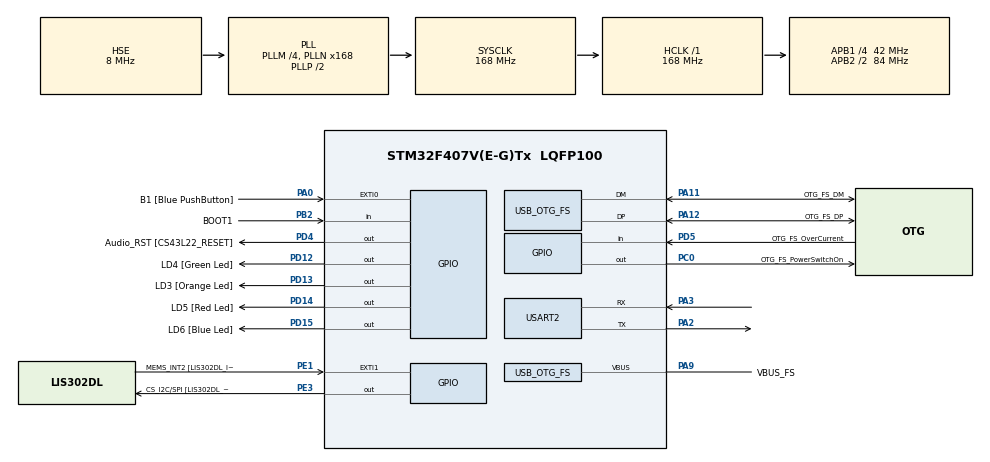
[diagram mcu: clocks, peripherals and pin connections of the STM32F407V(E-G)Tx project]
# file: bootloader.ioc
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Mcu.Family=STM32F4
Mcu.Name=STM32F407V(E-G)Tx
Mcu.Package=LQFP100
NVIC.OTG_FS_IRQn=true\:0\:0\:false\:false\:true\:false\:true\:true
NVIC.PriorityGroup=NVIC_PRIORITYGROUP_0
PA0-WKUP.GPIO_Label=B1 [Blue PushButton]
PA0-WKUP.Signal=GPXTI0
PA10.GPIO_Label=OTG_FS_ID
PA10.GPIO_Mode=GPIO_MODE_AF_PP
PA10.GPIO_PuPd=GPIO_NOPULL
PA10.GPIO_Speed=GPIO_SPEED_FREQ_LOW
PA10.Signal=USB_OTG_FS_ID
PA11.GPIO_Label=OTG_FS_DM
PA11.GPIO_Mode=GPIO_MODE_AF_PP
PA11.GPIO_PuPd=GPIO_NOPULL
PA11.GPIO_Speed=GPIO_SPEED_FREQ_LOW
PA11.Mode=Device_Only
PA11.Signal=USB_OTG_FS_DM
PA12.GPIO_Label=OTG_FS_DP
PA12.GPIO_Mode=GPIO_MODE_AF_PP
PA12.GPIO_PuPd=GPIO_NOPULL
PA12.GPIO_Speed=GPIO_SPEED_FREQ_LOW
PA12.Mode=Device_Only
PA12.Signal=USB_OTG_FS_DP
PA13.GPIO_Label=SWDIO
PA13.Mode=Serial_Wire
PA13.Signal=SYS_JTMS-SWDIO
PA14.GPIO_Label=SWCLK
PA14.Mode=Serial_Wire
PA14.Signal=SYS_JTCK-SWCLK
PA2.Mode=Asynchronous
PA2.Signal=USART2_TX
PA3.Mode=Asynchronous
PA3.Signal=USART2_RX
PA4.GPIO_Label=I2S3_WS [CS43L22_LRCK]
PA4.GPIO_Mode=GPIO_MODE_AF_PP
PA4.GPIO_PuPd=GPIO_NOPULL
PA4.GPIO_Speed=GPIO_SPEED_FREQ_LOW
PA4.Signal=I2S3_WS
PA5.GPIO_Label=SPI1_SCK [LIS302DL_SCL/SPC]
PA5.GPIO_Mode=GPIO_MODE_AF_PP
PA5.GPIO_PuPd=GPIO_NOPULL
PA5.GPIO_Speed=GPIO_SPEED_FREQ_LOW
PA5.Signal=SPI1_SCK
PA6.GPIO_Label=SPI1_MISO [LIS302DL_SDO]
PA6.GPIO_Mode=GPIO_MODE_AF_PP
PA6.GPIO_PuPd=GPIO_NOPULL
PA6.GPIO_Speed=GPIO_SPEED_FREQ_LOW
PA6.Signal=SPI1_MISO
PA7.GPIO_Label=SPI1_MOSI [LIS302DL_SDA/SDI/SDO]
PA7.GPIO_Mode=GPIO_MODE_AF_PP
PA7.GPIO_PuPd=GPIO_NOPULL
PA7.GPIO_Speed=GPIO_SPEED_FREQ_LOW
PA7.Signal=SPI1_MOSI
PA9.GPIO_Label=VBUS_FS
PA9.GPIO_Mode=GPIO_MODE_INPUT
PA9.GPIO_PuPd=GPIO_NOPULL
PA9.Mode=Activate_VBUS
PA9.Signal=USB_OTG_FS_VBUS
PB10.GPIO_Label=CLK_IN [MP45DT02_CLK]
PB10.GPIO_Mode=GPIO_MODE_AF_PP
PB10.GPIO_PuPd=GPIO_NOPULL
PB10.GPIO_Speed=GPIO_SPEED_FREQ_LOW
PB10.Signal=I2S2_CK
PB2.GPIO_Label=BOOT1
PB2.GPIO_Mode=GPIO_MODE_INPUT
PB2.GPIO_PuPd=GPIO_NOPULL
PB2.Signal=GPIO_Input
PB3.GPIO_Label=SWO
PB3.Signal=SYS_JTDO-SWO
PB6.GPIO_Label=Audio_SCL [CS43L22_SCL]
PB6.GPIO_Mode=GPIO_MODE_AF_OD
PB6.GPIO_PuPd=GPIO_NOPULL
PB6.GPIO_Speed=GPIO_SPEED_FREQ_LOW
PB6.Signal=I2C1_SCL
PB9.GPIO_Label=Audio_SDA [CS43L22_SDA]
PB9.GPIO_Mode=GPIO_MODE_AF_OD
PB9.GPIO_PuPd=GPIO_NOPULL
PB9.GPIO_Speed=GPIO_SPEED_FREQ_LOW
PB9.Signal=I2C1_SDA
PC0.GPIO_Label=OTG_FS_PowerSwitchOn
PC0.GPIO_PuPd=GPIO_NOPULL
PC0.GPIO_Speed=GPIO_SPEED_FREQ_LOW
PC0.PinState=GPIO_PIN_SET
PC0.Signal=GPIO_Output
PC10.GPIO_Label=I2S3_SCK [CS43L22_SCLK]
PC10.GPIO_Mode=GPIO_MODE_AF_PP
PC10.GPIO_PuPd=GPIO_NOPULL
PC10.GPIO_Speed=GPIO_SPEED_FREQ_LOW
PC10.Signal=I2S3_CK
PC12.GPIO_Label=I2S3_SD [CS43L22_SDIN]
PC12.GPIO_Mode=GPIO_MODE_AF_PP
PC12.GPIO_PuPd=GPIO_NOPULL
PC12.GPIO_Speed=GPIO_SPEED_FREQ_LOW
PC12.Signal=I2S3_SD
PC14-OSC32_IN.GPIO_Label=PC14-OSC32_IN
PC14-OSC32_IN.Signal=RCC_OSC32_IN
PC15-OSC32_OUT.GPIO_Label=PC15-OSC32_OUT
PC15-OSC32_OUT.Signal=RCC_OSC32_OUT
PC3.GPIO_Label=PDM_OUT [MP45DT02_DOUT]
PC3.GPIO_Mode=GPIO_MODE_AF_PP
PC3.GPIO_PuPd=GPIO_NOPULL
PC3.GPIO_Speed=GPIO_SPEED_FREQ_LOW
PC3.Signal=I2S2_SD
PC7.GPIO_Label=I2S3_MCK [CS43L22_MCLK]
PC7.GPIO_Mode=GPIO_MODE_AF_PP
PC7.GPIO_PuPd=GPIO_NOPULL
PC7.GPIO_Speed=GPIO_SPEED_FREQ_LOW
PC7.Signal=I2S3_MCK
PD12.GPIO_Label=LD4 [Green Led]
PD12.GPIO_PuPd=GPIO_NOPULL
PD12.GPIO_Speed=GPIO_SPEED_FREQ_LOW
PD12.Signal=GPIO_Output
PD13.GPIO_Label=LD3 [Orange Led]
PD13.GPIO_PuPd=GPIO_NOPULL
PD13.GPIO_Speed=GPIO_SPEED_FREQ_LOW
PD13.Signal=GPIO_Output
PD14.GPIO_Label=LD5 [Red Led]
PD14.GPIO_PuPd=GPIO_NOPULL
PD14.GPIO_Speed=GPIO_SPEED_FREQ_LOW
PD14.Signal=GPIO_Output
PD15.GPIO_Label=LD6 [Blue Led]
PD15.GPIO_PuPd=GPIO_NOPULL
PD15.GPIO_Speed=GPIO_SPEED_FREQ_LOW
PD15.Signal=GPIO_Output
PD4.GPIO_Label=Audio_RST [CS43L22_RESET]
PD4.GPIO_PuPd=GPIO_NOPULL
PD4.GPIO_Speed=GPIO_SPEED_FREQ_LOW
PD4.Signal=GPIO_Output
PD5.GPIO_Label=OTG_FS_OverCurrent
PD5.GPIO_Mode=GPIO_MODE_INPUT
PD5.GPIO_PuPd=GPIO_NOPULL
PD5.Signal=GPIO_Input
PE1.GPIO_Label=MEMS_INT2 [LIS302DL_INT2]
PE1.GPIO_ModeDefaultEXTI=GPIO_MODE_EVT_RISING
PE1.GPIO_PuPd=GPIO_NOPULL
PE1.Signal=GPXTI1
PE3.GPIO_Label=CS_I2C/SPI [LIS302DL_CS_I2C/SPI]
PE3.GPIO_PuPd=GPIO_NOPULL
PE3.GPIO_Speed=GPIO_SPEED_FREQ_LOW
PE3.Signal=GPIO_Output
PH0-OSC_IN.GPIO_Label=PH0-OSC_IN
PH0-OSC_IN.Mode=HSE-External-Oscillator
PH0-OSC_IN.Signal=RCC_OSC_IN
PH1-OSC_OUT.GPIO_Label=PH1-OSC_OUT
PH1-OSC_OUT.Mode=HSE-External-Oscillator
PH1-OSC_OUT.Signal=RCC_OSC_OUT
ProjectManager.HeapSize=0x200
ProjectManager.StackSize=0x400
ProjectManager.TargetToolchain=CMake
RCC.48MHZClocksFreq_Value=48000000
RCC.AHBFreq_Value=168000000
RCC.APB1CLKDivider=RCC_HCLK_DIV4
RCC.APB1Freq_Value=42000000
RCC.APB1TimFreq_Value=84000000
RCC.APB2CLKDivider=RCC_HCLK_DIV2
RCC.APB2Freq_Value=84000000
RCC.APB2TimFreq_Value=168000000
RCC.CortexFreq_Value=168000000
RCC.HCLKFreq_Value=168000000
RCC.HSE_VALUE=8000000
RCC.HSI_VALUE=16000000
RCC.LSE_VALUE=32768
RCC.PLLM=4
RCC.PLLN=168
RCC.PLLQ=7
RCC.SYSCLKFreq_VALUE=168000000
RCC.SYSCLKSource=RCC_SYSCLKSOURCE_PLLCLK
RCC.VCOOutputFreq_Value=336000000
USART2.VirtualMode=VM_ASYNC
USB_DEVICE.CLASS_NAME_FS=CDC
USB_DEVICE.VirtualMode-CDC_FS=Cdc
USB_DEVICE.VirtualModeFS=Cdc_FS
USB_OTG_FS.VirtualMode=Device_Only
VP_CRC_VS_CRC.Mode=CRC_Activate
VP_USB_DEVICE_VS_USB_DEVICE_CDC_FS.Mode=CDC_FS
board=STM32F407G-DISC1

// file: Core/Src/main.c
/* USER CODE BEGIN Header */
/**
  ******************************************************************************
  * @file           : main.c
  * @brief          : Main program body
  ******************************************************************************
  * @attention
  *
  * Copyright (c) 2026 STMicroelectronics.
  * All rights reserved.
  *
  * This software is licensed under terms that can be found in the LICENSE file
  * in the root directory of this software component.
  * If no LICENSE file comes with this software, it is provided AS-IS.
  *
  ******************************************************************************
  */
/* USER CODE END Header */
#include "main.h"
#include "usb_device.h"

/* USER CODE BEGIN Includes */
#include "usbd_cdc_if.h"
#include <stdarg.h>
/* USER CODE END Includes */

CRC_HandleTypeDef hcrc;

UART_HandleTypeDef huart2;

/* USER CODE BEGIN PV */
uint8_t usb_tx_buf[USB_BUF_LEN];
uint8_t usb_rx_buffer[BL_RX_LEN];
extern USBD_HandleTypeDef hUsbDeviceFS;
extern CDC_RX_STATE cdc_rx_state;
extern uint8_t data_len;

uint8_t supported_commands[] = {
    BL_GET_VER ,
    BL_GET_HELP,
    BL_GET_CID,
    BL_GET_RDP_STATUS,
    BL_GO_TO_ADDR,
    BL_FLASH_ERASE,
    BL_MEM_WRITE,
    BL_READ_SECTOR_P_STATUS
} ;
/* USER CODE END PV */

void SystemClock_Config(void);
static void MX_GPIO_Init(void);
static void MX_CRC_Init(void);
static void MX_USART2_UART_Init(void);

int main(void)
{

  /* MCU Configuration--------------------------------------------------------*/

  /* Reset of all peripherals, Initializes the Flash interface and the Systick. */
  HAL_Init();

  /* Configure the system clock */
  SystemClock_Config();

  /* Initialize all configured peripherals */
  MX_GPIO_Init();
  MX_CRC_Init();
  MX_USB_DEVICE_Init();
  MX_USART2_UART_Init();
  /* USER CODE BEGIN 2 */
  HAL_Delay(2000);
  print_msg("BL_DEBUG_MSG: Hello from Bootloader!!!\r\n");

  if ( HAL_GPIO_ReadPin(B1_GPIO_Port, B1_Pin) == GPIO_PIN_SET )
  {
    print_msg("BL_DEBUG_MSG: Button is pressed .. going to BL mode.\r\n");
    bootloader_usb_read_data();
  } else
  {
    print_msg("BL_DEBUG_MSG: Button is not pressed .. executing user app.\r\n");
    bootloader_jump_to_user_app();
  }

  /* USER CODE END 2 */

  /* Infinite loop */
  while (1)
  {

  }
}

void SystemClock_Config(void)
{
  RCC_OscInitTypeDef RCC_OscInitStruct = {0};
  RCC_ClkInitTypeDef RCC_ClkInitStruct = {0};

  /** Configure the main internal regulator output voltage
  */
  __HAL_RCC_PWR_CLK_ENABLE();
  __HAL_PWR_VOLTAGESCALING_CONFIG(PWR_REGULATOR_VOLTAGE_SCALE1);

  /** Initializes the RCC Oscillators according to the specified parameters
  * in the RCC_OscInitTypeDef structure.
  */
  RCC_OscInitStruct.OscillatorType = RCC_OSCILLATORTYPE_HSE;
  RCC_OscInitStruct.HSEState = RCC_HSE_ON;
  RCC_OscInitStruct.PLL.PLLState = RCC_PLL_ON;
  RCC_OscInitStruct.PLL.PLLSource = RCC_PLLSOURCE_HSE;
  RCC_OscInitStruct.PLL.PLLM = 4;
  RCC_OscInitStruct.PLL.PLLN = 168;
  RCC_OscInitStruct.PLL.PLLP = RCC_PLLP_DIV2;
  RCC_OscInitStruct.PLL.PLLQ = 7;
  if (HAL_RCC_OscConfig(&RCC_OscInitStruct) != HAL_OK)
  {
    Error_Handler();
  }

  /** Initializes the CPU, AHB and APB buses clocks
  */
  RCC_ClkInitStruct.ClockType = RCC_CLOCKTYPE_HCLK|RCC_CLOCKTYPE_SYSCLK
                              |RCC_CLOCKTYPE_PCLK1|RCC_CLOCKTYPE_PCLK2;
  RCC_ClkInitStruct.SYSCLKSource = RCC_SYSCLKSOURCE_PLLCLK;
  RCC_ClkInitStruct.AHBCLKDivider = RCC_SYSCLK_DIV1;
  RCC_ClkInitStruct.APB1CLKDivider = RCC_HCLK_DIV4;
  RCC_ClkInitStruct.APB2CLKDivider = RCC_HCLK_DIV2;

  if (HAL_RCC_ClockConfig(&RCC_ClkInitStruct, FLASH_LATENCY_5) != HAL_OK)
  {
    Error_Handler();
  }
}

static void MX_CRC_Init(void)
{

  hcrc.Instance = CRC;
  if (HAL_CRC_Init(&hcrc) != HAL_OK)
  {
    Error_Handler();
  }

}

static void MX_USART2_UART_Init(void)
{

  huart2.Instance = USART2;
  huart2.Init.BaudRate = 115200;
  huart2.Init.WordLength = UART_WORDLENGTH_8B;
  huart2.Init.StopBits = UART_STOPBITS_1;
  huart2.Init.Parity = UART_PARITY_NONE;
  huart2.Init.Mode = UART_MODE_TX_RX;
  huart2.Init.HwFlowCtl = UART_HWCONTROL_NONE;
  huart2.Init.OverSampling = UART_OVERSAMPLING_16;
  if (HAL_UART_Init(&huart2) != HAL_OK)
  {
    Error_Handler();
  }

}

static void MX_GPIO_Init(void)
{
  GPIO_InitTypeDef GPIO_InitStruct = {0};

  /* GPIO Ports Clock Enable */
  __HAL_RCC_GPIOE_CLK_ENABLE();
  __HAL_RCC_GPIOC_CLK_ENABLE();
  __HAL_RCC_GPIOH_CLK_ENABLE();
  __HAL_RCC_GPIOA_CLK_ENABLE();
  __HAL_RCC_GPIOB_CLK_ENABLE();
  __HAL_RCC_GPIOD_CLK_ENABLE();

  /*Configure GPIO pin Output Level */
  HAL_GPIO_WritePin(CS_I2C_SPI_GPIO_Port, CS_I2C_SPI_Pin, GPIO_PIN_RESET);

  /*Configure GPIO pin Output Level */
  HAL_GPIO_WritePin(OTG_FS_PowerSwitchOn_GPIO_Port, OTG_FS_PowerSwitchOn_Pin, GPIO_PIN_SET);

  /*Configure GPIO pin Output Level */
  HAL_GPIO_WritePin(GPIOD, LD4_Pin|LD3_Pin|LD5_Pin|LD6_Pin
                          |Audio_RST_Pin, GPIO_PIN_RESET);

  /*Configure GPIO pin : CS_I2C_SPI_Pin */
  GPIO_InitStruct.Pin = CS_I2C_SPI_Pin;
  GPIO_InitStruct.Mode = GPIO_MODE_OUTPUT_PP;
  GPIO_InitStruct.Pull = GPIO_NOPULL;
  GPIO_InitStruct.Speed = GPIO_SPEED_FREQ_LOW;
  HAL_GPIO_Init(CS_I2C_SPI_GPIO_Port, &GPIO_InitStruct);

  /*Configure GPIO pin : OTG_FS_PowerSwitchOn_Pin */
  GPIO_InitStruct.Pin = OTG_FS_PowerSwitchOn_Pin;
  GPIO_InitStruct.Mode = GPIO_MODE_OUTPUT_PP;
  GPIO_InitStruct.Pull = GPIO_NOPULL;
  GPIO_InitStruct.Speed = GPIO_SPEED_FREQ_LOW;
  HAL_GPIO_Init(OTG_FS_PowerSwitchOn_GPIO_Port, &GPIO_InitStruct);

  /*Configure GPIO pin : PDM_OUT_Pin */
  GPIO_InitStruct.Pin = PDM_OUT_Pin;
  GPIO_InitStruct.Mode = GPIO_MODE_AF_PP;
  GPIO_InitStruct.Pull = GPIO_NOPULL;
  GPIO_InitStruct.Speed = GPIO_SPEED_FREQ_LOW;
  GPIO_InitStruct.Alternate = GPIO_AF5_SPI2;
  HAL_GPIO_Init(PDM_OUT_GPIO_Port, &GPIO_InitStruct);

  /*Configure GPIO pin : B1_Pin */
  GPIO_InitStruct.Pin = B1_Pin;
  GPIO_InitStruct.Mode = GPIO_MODE_IT_RISING;
  GPIO_InitStruct.Pull = GPIO_NOPULL;
  HAL_GPIO_Init(B1_GPIO_Port, &GPIO_InitStruct);

  /*Configure GPIO pin : I2S3_WS_Pin */
  GPIO_InitStruct.Pin = I2S3_WS_Pin;
  GPIO_InitStruct.Mode = GPIO_MODE_AF_PP;
  GPIO_InitStruct.Pull = GPIO_NOPULL;
  GPIO_InitStruct.Speed = GPIO_SPEED_FREQ_LOW;
  GPIO_InitStruct.Alternate = GPIO_AF6_SPI3;
  HAL_GPIO_Init(I2S3_WS_GPIO_Port, &GPIO_InitStruct);

  /*Configure GPIO pins : SPI1_SCK_Pin SPI1_MISO_Pin SPI1_MOSI_Pin */
  GPIO_InitStruct.Pin = SPI1_SCK_Pin|SPI1_MISO_Pin|SPI1_MOSI_Pin;
  GPIO_InitStruct.Mode = GPIO_MODE_AF_PP;
  GPIO_InitStruct.Pull = GPIO_NOPULL;
  GPIO_InitStruct.Speed = GPIO_SPEED_FREQ_LOW;
  GPIO_InitStruct.Alternate = GPIO_AF5_SPI1;
  HAL_GPIO_Init(GPIOA, &GPIO_InitStruct);

  /*Configure GPIO pin : BOOT1_Pin */
  GPIO_InitStruct.Pin = BOOT1_Pin;
  GPIO_InitStruct.Mode = GPIO_MODE_INPUT;
  GPIO_InitStruct.Pull = GPIO_NOPULL;
  HAL_GPIO_Init(BOOT1_GPIO_Port, &GPIO_InitStruct);

  /*Configure GPIO pin : CLK_IN_Pin */
  GPIO_InitStruct.Pin = CLK_IN_Pin;
  GPIO_InitStruct.Mode = GPIO_MODE_AF_PP;
  GPIO_InitStruct.Pull = GPIO_NOPULL;
  GPIO_InitStruct.Speed = GPIO_SPEED_FREQ_LOW;
  GPIO_InitStruct.Alternate = GPIO_AF5_SPI2;
  HAL_GPIO_Init(CLK_IN_GPIO_Port, &GPIO_InitStruct);

  /*Configure GPIO pins : LD4_Pin LD3_Pin LD5_Pin LD6_Pin
                           Audio_RST_Pin */
  GPIO_InitStruct.Pin = LD4_Pin|LD3_Pin|LD5_Pin|LD6_Pin
                          |Audio_RST_Pin;
  GPIO_InitStruct.Mode = GPIO_MODE_OUTPUT_PP;
  GPIO_InitStruct.Pull = GPIO_NOPULL;
  GPIO_InitStruct.Speed = GPIO_SPEED_FREQ_LOW;
  HAL_GPIO_Init(GPIOD, &GPIO_InitStruct);

  /*Configure GPIO pins : I2S3_MCK_Pin I2S3_SCK_Pin I2S3_SD_Pin */
  GPIO_InitStruct.Pin = I2S3_MCK_Pin|I2S3_SCK_Pin|I2S3_SD_Pin;
  GPIO_InitStruct.Mode = GPIO_MODE_AF_PP;
  GPIO_InitStruct.Pull = GPIO_NOPULL;
  GPIO_InitStruct.Speed = GPIO_SPEED_FREQ_LOW;
  GPIO_InitStruct.Alternate = GPIO_AF6_SPI3;
  HAL_GPIO_Init(GPIOC, &GPIO_InitStruct);

  /*Configure GPIO pin : OTG_FS_OverCurrent_Pin */
  GPIO_InitStruct.Pin = OTG_FS_OverCurrent_Pin;
  GPIO_InitStruct.Mode = GPIO_MODE_INPUT;
  GPIO_InitStruct.Pull = GPIO_NOPULL;
  HAL_GPIO_Init(OTG_FS_OverCurrent_GPIO_Port, &GPIO_InitStruct);

  /*Configure GPIO pins : Audio_SCL_Pin Audio_SDA_Pin */
  GPIO_InitStruct.Pin = Audio_SCL_Pin|Audio_SDA_Pin;
  GPIO_InitStruct.Mode = GPIO_MODE_AF_OD;
  GPIO_InitStruct.Pull = GPIO_NOPULL;
  GPIO_InitStruct.Speed = GPIO_SPEED_FREQ_LOW;
  GPIO_InitStruct.Alternate = GPIO_AF4_I2C1;
  HAL_GPIO_Init(GPIOB, &GPIO_InitStruct);

  /*Configure GPIO pin : MEMS_INT2_Pin */
  GPIO_InitStruct.Pin = MEMS_INT2_Pin;
  GPIO_InitStruct.Mode = GPIO_MODE_EVT_RISING;
  GPIO_InitStruct.Pull = GPIO_NOPULL;
  HAL_GPIO_Init(MEMS_INT2_GPIO_Port, &GPIO_InitStruct);

}

/* USER CODE BEGIN 4 */
void bootloader_usb_read_data(void)
{
  // Start receiving data from USB
  USBD_CDC_SetRxBuffer(&hUsbDeviceFS, &usb_rx_buffer[0]);
  USBD_CDC_ReceivePacket(&hUsbDeviceFS);

  while (1)
  {
    if (cdc_rx_state == CDC_RX_STATE_IDLE) continue;

    uint8_t len = usb_rx_buffer[0];
    uint32_t host_crc = *((uint32_t *) (usb_rx_buffer + len - 4) );

    VERIFY_CRC crc_valid = bootloader_verify_crc(&usb_rx_buffer[0], len - 4, host_crc);

    if (crc_valid == VERIFY_CRC_ERROR)
    {
      bootloader_send_nack();
      cdc_rx_state = CDC_RX_STATE_IDLE;
      continue;
    };

    // If CRC matches we send ACK byte
    print_msg("BL_DEBUG_MSG: Checksum success !!\r\n");
    bootloader_send_ack();

    const BL_RX_CMD cmd = (BL_RX_CMD) usb_rx_buffer[1];

    switch (cmd)
    {
    case BL_GET_VER:
      bootloader_handle_getver_cmd();
      break;
    case BL_GET_HELP:
      bootloader_handle_gethelp_cmd();
      break;
    case BL_GET_CID:
      bootloader_handle_getcid_cmd();
      break;
    case BL_GET_RDP_STATUS:
      bootloader_handle_getrdp_cmd();
      break;
    case BL_GO_TO_ADDR:
      bootloader_handle_go_cmd(usb_rx_buffer);
      break;
    case BL_FLASH_ERASE:
      bootloader_handle_flash_erase_cmd(usb_rx_buffer);
      break;
    case BL_MEM_WRITE:
      bootloader_handle_mem_write_cmd(usb_rx_buffer);
      break;
    case BL_EN_RW_PROTECT:
      bootloader_handle_en_rw_protect(usb_rx_buffer);
      break;
    case BL_MEM_READ:
      bootloader_handle_mem_read(usb_rx_buffer);
      break;
    case BL_READ_SECTOR_P_STATUS:
      bootloader_handle_read_sector_protection_status(usb_rx_buffer);
      break;
    case BL_OTP_READ:
      bootloader_handle_read_otp(usb_rx_buffer);
      break;
    case BL_DIS_R_W_PROTECT:
      bootloader_handle_dis_rw_protect(usb_rx_buffer);
      break;
    default:
      print_msg("BL_DEBUG_MSG: Invalid command code received from host \r\n");
      break;
    }

    cdc_rx_state = CDC_RX_STATE_IDLE;
    USBD_CDC_SetRxBuffer(&hUsbDeviceFS, &usb_rx_buffer[0]);
    USBD_CDC_ReceivePacket(&hUsbDeviceFS);
  }

}
void bootloader_jump_to_user_app(void)
{

  // Function pointer to hold the address of the reset handler
  void (*app_reset_handler)(void) __attribute__((noreturn));

  print_msg("BL_DEBUG_MSG: bootloader_jump_to_user_app\r\n");

  // Configure MSP to be the base address of application stack
  // Which is the first value in the start of the application flash sector
  uint32_t msp_value = *(volatile uint32_t *) FLASH_SECTOR_3_BASE_ADDRESS;
  print_msg("BL_DEBUG_MSG: MSP value: %#lx\r\n", msp_value);

  // Fetch reset handler address of application
  // Which is the second value in the stert of the application flash sector
  uint32_t reset_handler_address = *(volatile uint32_t *) ( FLASH_SECTOR_3_BASE_ADDRESS + 4 );

  app_reset_handler = (void *) reset_handler_address;

  print_msg("BL_DEBUG_MSG: app reset handler address: %#lx\r\n", reset_handler_address);
  HAL_Delay(100);              // let print drain

  USBD_DeInit(&hUsbDeviceFS);
  HAL_DeInit();
  HAL_RCC_DeInit();   // switch back to HSI, disable PLL/HSE

  SysTick->CTRL = 0;

  // Clearing NVIC
  for (int i = 0; i < 8; i++) {
    NVIC->ICER[i] = 0xFFFFFFFFU;   // disable all
    NVIC->ICPR[i] = 0xFFFFFFFFU;   // clear pending
  }

  SCB->VTOR = FLASH_SECTOR_3_BASE_ADDRESS;
  __DSB(); __ISB();

  __set_MSP(msp_value);        // set MSP LAST, just before jumping
  // Jump to reset handler of the application
  app_reset_handler();
}

void print_msg(const char *fmt, ...)
{
  char str[80];

  va_list args;
  va_start(args, fmt);
  vsprintf(str, fmt, args);
  HAL_UART_Transmit(&huart2, (uint8_t *)str, strlen(str), HAL_MAX_DELAY);
  va_end(args);
}

void bootloader_handle_getver_cmd()
{
  print_msg("BL_DEBUG_MSG: bootloader_handle_getver_cmd\r\n");
  uint8_t bl_version = (uint8_t) BL_VERSION;
  bootloader_send_msg(&bl_version, 1);
}
void bootloader_handle_gethelp_cmd()
{
  print_msg("BL_DEBUG_MSG: bootloader_handle_gethelp_cmd\r\n");
  bootloader_send_msg(supported_commands, sizeof(supported_commands));
}
void bootloader_handle_getcid_cmd()
{
  print_msg("BL_DEBUG_MSG: bootloader_handle_getcid_cmd\r\n");
  uint16_t cid = (uint16_t) (DBGMCU->IDCODE) & 0x0FFF;
  print_msg("BL_DEBUG_MSG: MCU id: %d %#x\r\n", cid, cid);
  bootloader_send_msg((uint8_t *)&cid, 2);
}
void bootloader_handle_getrdp_cmd()
{
  print_msg("BL_DEBUG_MSG: bootloader_handle_getrdp_cmd\r\n");
  volatile uint32_t *pOB_addr = (uint32_t *) 0x1FFFC000;
  uint8_t rdp_status = (uint8_t) (*pOB_addr >> 8);
  print_msg("BL_DEBUG_MSG: RDP level: %d %#x\r\n", rdp_status, rdp_status);
  bootloader_send_msg(&rdp_status, 1);
}
void bootloader_handle_go_cmd(uint8_t *pBuffer)
{
  print_msg("BL_DEBUG_MSG: bootloader_handle_go_cmd\r\n");
  uint32_t go_addr = *((uint32_t *) &pBuffer[2]);
  print_msg("BL_DEBUG_MSG: Go addr: %#x\r\n", go_addr);
  uint8_t addr_valid = bootloader_verify_address(go_addr);
  bootloader_send_msg(&addr_valid, 1);
  if ( addr_valid != ADDR_VALID )
  {
    print_msg("BL_DEBUG_MSG: GO addr invalid! \r\n");
    return;
  }

  print_msg("BL_DEBUG_MSG: Jumping to address! \r\n");
  HAL_Delay(100);  // let UART drain before teardown

  USBD_DeInit(&hUsbDeviceFS);
  HAL_DeInit();
  HAL_RCC_DeInit();

  SysTick->CTRL = 0;

  for (int i = 0; i < 8; i++) {
    NVIC->ICER[i] = 0xFFFFFFFFU;
    NVIC->ICPR[i] = 0xFFFFFFFFU;
  }

  __DSB(); __ISB();

  go_addr |= 1;  // ensure Thumb bit is set, safe even if already odd
  void (*lets_jump)(void) = (void *) go_addr;
  lets_jump();
}
void bootloader_handle_flash_erase_cmd(uint8_t *pBuffer)
{
  print_msg("BL_DEBUG_MSG: bootloader_handle_flash_erase_cmd\r\n");
  print_msg("BL_DEBUG_MSG: initial_sector : %d no_of_sectors: %d\r\n", pBuffer[2], pBuffer[3]);

  HAL_GPIO_WritePin(LD3_GPIO_Port, LD3_Pin, GPIO_PIN_SET);
  const uint8_t erase_status = bootloader_flash_erase(pBuffer[2], pBuffer[3]);
  HAL_GPIO_WritePin(LD3_GPIO_Port, LD3_Pin, GPIO_PIN_RESET);

  print_msg("BL_DEBUG_MSG: flash erase status: %#x\r\n", erase_status);
  bootloader_send_msg(&erase_status, 1);
}
void bootloader_handle_mem_write_cmd(uint8_t *pBuffer)
{
  uint32_t mem_addr = *((uint32_t *) &pBuffer[2]);
  uint8_t payload_len = pBuffer[6];

  print_msg("BL_DEBUG_MSG: bootloader_handle_mem_write_cmd\r\n");

  print_msg("BL_DEBUG_MSG: mem write address : %#x\r\n",mem_addr);

  uint8_t addr_valid = bootloader_verify_address(mem_addr);

  if ( addr_valid != ADDR_VALID )
  {
    print_msg("BL_DEBUG_MSG: invalid mem write address\r\n");
    bootloader_send_msg(&addr_valid, 1);
    return;
  }

  print_msg("BL_DEBUG_MSG: valid mem write address\r\n");

  HAL_GPIO_WritePin(LD3_GPIO_Port, LD3_Pin, GPIO_PIN_SET);
  uint8_t write_status = bootloader_mem_write(&pBuffer[7], mem_addr, payload_len);
  HAL_GPIO_WritePin(LD3_GPIO_Port, LD3_Pin, GPIO_PIN_RESET);

  bootloader_send_msg(&write_status, 1);
}
void bootloader_handle_en_rw_protect(uint8_t *pBuffer)
{
  print_msg("BL_DEBUG_MSG: bootloader_handle_en_rw_protect\r\n");
  uint16_t sector_protection = *((uint16_t *) &pBuffer[2]) & 0x0FFF;
  uint8_t status = HAL_OK;

  status = bootloader_config_flash_sector_rw_protection(sector_protection, SET);

  print_msg("BL_DEBUG_MSG: modifying opt status: %#x\n",status);
  bootloader_send_msg(&status, 1);
}
void bootloader_handle_mem_read (uint8_t *pBuffer)
{

}
void bootloader_handle_read_sector_protection_status(uint8_t *pBuffer)
{
  print_msg("BL_DEBUG_MSG: bootloader_handle_read_sector_protection_status\r\n");
  volatile uint32_t *pOB_addr = (uint32_t *) 0x1FFFC008;
  uint16_t sector_protection = (uint16_t) (*pOB_addr & 0x0FFF);
  print_msg("BL_DEBUG_MSG: nWRP: %d %#x\r\n", sector_protection, sector_protection);
  bootloader_send_msg((uint8_t *)&sector_protection, 2);
}
void bootloader_handle_read_otp(uint8_t *pBuffer)
{

}
void bootloader_handle_dis_rw_protect(uint8_t *pBuffer)
{
  print_msg("BL_DEBUG_MSG: bootloader_handle_dis_rw_protect\r\n");
  uint16_t sector_protection = *((uint16_t *) &pBuffer[2]) & 0x0FFF;
  uint8_t status = HAL_OK;

  status = bootloader_config_flash_sector_rw_protection(sector_protection, RESET);

  print_msg("BL_DEBUG_MSG: modifying opt status: %#x\n",status);
  bootloader_send_msg(&status, 1);
}

void bootloader_send_msg(const uint8_t* msg, const uint8_t msg_len)
{
  uint8_t result = USBD_BUSY;
  usb_tx_buf[0] = msg_len;
  sprintf((char *)&usb_tx_buf[1], (char *)msg, msg_len);

  while (result == USBD_BUSY)
  {
    result = CDC_Transmit_FS(usb_tx_buf, msg_len + 1);
  }
}

void bootloader_send_ack(void)
{
  uint8_t ack = BL_ACK;
  CDC_Transmit_FS(&ack, 1);
}

void bootloader_send_nack(void)
{
  uint8_t nack = BL_NACK;
  CDC_Transmit_FS(&nack, 1);
}

VERIFY_CRC bootloader_verify_crc(uint8_t *pBuffer, uint32_t len, uint32_t crc_host)
{
  __HAL_CRC_DR_RESET(&hcrc);
  uint32_t uw_crc_value = 0xffffffff;

  for (uint32_t i = 0; i < len; i ++)
  {
    uint32_t i_data = pBuffer[i];
    uw_crc_value = HAL_CRC_Accumulate(&hcrc, &i_data, 1);
  }

  if (uw_crc_value != crc_host) return VERIFY_CRC_ERROR;

  return VERIFY_CRC_SUCCESS;
}

uint8_t bootloader_verify_address(uint32_t go_address) {

  if ((go_address >= SRAM1_BASE && go_address <= SRAM1_END) ||
        (go_address >= SRAM2_BASE && go_address <= SRAM2_END) ||
        (go_address >= FLASH_BASE && go_address <= FLASH_END) ||
        (go_address >= BKPSRAM_BASE && go_address <= BKPSRAM_END))
  {
    return ADDR_VALID;
  }

  return ADDR_INVALID;
}

uint8_t bootloader_flash_erase(uint8_t sector_number, uint8_t number_of_sectors)
{
  if (number_of_sectors > 11) return INVALID_SECTOR;

  FLASH_EraseInitTypeDef flash_erase_handler = {0};
  // Sector number = 0xFF means mass erase
  if (sector_number == 0xFF)
  {
    flash_erase_handler.TypeErase = FLASH_TYPEERASE_MASSERASE;
  } else
  {
    uint8_t remaining_sectors = 11 - sector_number;
    if ( number_of_sectors > remaining_sectors )
    {
      number_of_sectors = remaining_sectors;
    }
    flash_erase_handler.TypeErase = FLASH_TYPEERASE_SECTORS;
    flash_erase_handler.Sector = sector_number;
    flash_erase_handler.NbSectors = number_of_sectors;
  }

  flash_erase_handler.Banks = FLASH_BANK_1;
  flash_erase_handler.VoltageRange = FLASH_VOLTAGE_RANGE_3;

  HAL_FLASH_Unlock();
  uint32_t sector_error = 0;
  uint8_t status = (uint8_t) HAL_FLASHEx_Erase(&flash_erase_handler, &sector_error);
  HAL_FLASH_Lock();

  return status;
}

uint8_t bootloader_mem_write(uint8_t *pBuffer, uint32_t mem_addr, uint32_t len)
{
  uint8_t status = HAL_OK;

  HAL_FLASH_Unlock();

  for (uint32_t i = 0; i < len; i ++)
  {
    status = HAL_FLASH_Program(FLASH_TYPEPROGRAM_BYTE, mem_addr + i, pBuffer[i]);
  }

  HAL_FLASH_Lock();

  return status;
}

uint8_t bootloader_config_flash_sector_rw_protection(uint16_t sectors, uint8_t state)
{
  volatile uint32_t *pOPTCR = (uint32_t *) 0x40023C14;

  HAL_FLASH_OB_Unlock();

  // Check that no flash memory operation is ongoing by checking the BSY bit in the FLASH_SR register
  while (__HAL_FLASH_GET_FLAG(FLASH_FLAG_BSY) != RESET);

  // Write the desired option value in the FLASH_OPTCR register
  if (state == SET)
  {
    *pOPTCR &= ~(sectors << 16);
  } else
  {
    *pOPTCR |= (sectors << 16);
  }

  // Set the option start bit (OPTSTRT) in the FLASH_OPTCR register
  *pOPTCR |= (1 << 1);

  // Wait for the BSY bit to be cleared.
  while (__HAL_FLASH_GET_FLAG(FLASH_FLAG_BSY) != RESET);

  HAL_FLASH_OB_Lock();

  return HAL_OK;
}

/* USER CODE END 4 */

void Error_Handler(void)
{
  __disable_irq();
  while (1)
  {
  }
}
